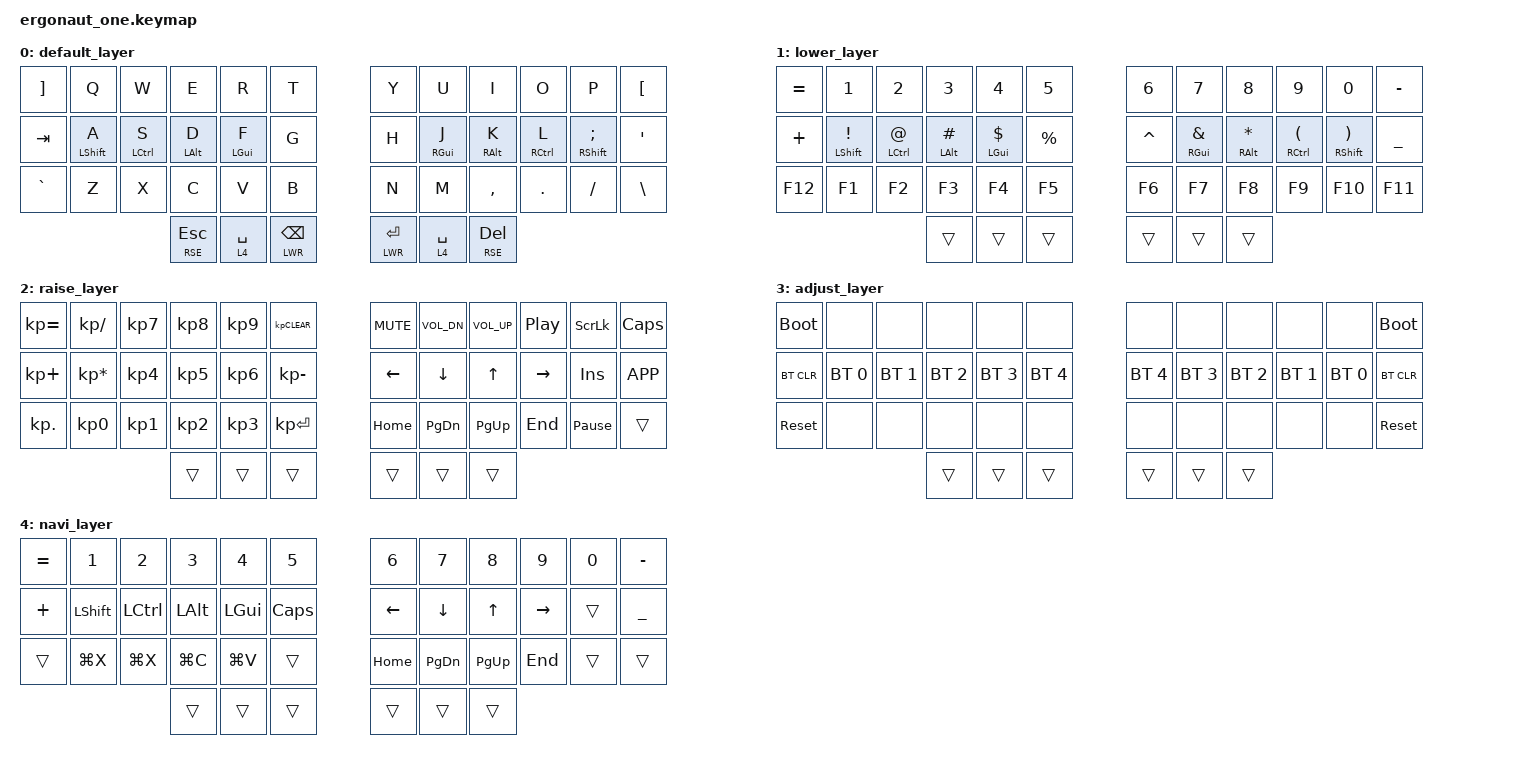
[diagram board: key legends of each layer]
#include <behaviors.dtsi>
#include <dt-bindings/zmk/bt.h>
#include <dt-bindings/zmk/keys.h>

#define DEF 0
#define LWR 1
#define RSE 2
#define ADJ 3

&lt { quick-tap-ms = <200>; };

&mt { quick-tap-ms = <200>; };

/ {
    conditional_layers {
        compatible = "zmk,conditional-layers";

        tri-layer {
            if-layers = <1 2>;
            then-layer = <3>;
        };
    };

    behaviors {
        mt_l: mt_l {
            compatible = "zmk,behavior-hold-tap";
            label = "MT_L";
            bindings = <&kp>, <&kp>;

            #binding-cells = <2>;
            tapping-term-ms = <200>;
            quick-tap-ms = <140>;
            flavor = "tap-preferred";
        };

        mt_r: mt_r {
            compatible = "zmk,behavior-hold-tap";
            label = "MT_R";
            bindings = <&kp>, <&kp>;

            #binding-cells = <2>;
            tapping-term-ms = <200>;
            quick-tap-ms = <140>;
            flavor = "tap-preferred";
        };
    };

    keymap {
        compatible = "zmk,keymap";

        default_layer {
            bindings = <
&kp RBKT   &kp Q               &kp W          &kp E             &kp R             &kp T         &kp Y          &kp U              &kp I              &kp O          &kp P                   &kp LBKT
&kp TAB    &mt_l LEFT_SHIFT A  &mt_l LCTRL S  &mt_l LEFT_ALT D  &mt_l LEFT_GUI F  &kp G         &kp H          &mt_r RIGHT_GUI J  &mt_r RIGHT_ALT K  &mt_r RCTRL L  &mt_r RIGHT_SHIFT SEMI  &kp SQT
&kp GRAVE  &kp Z               &kp X          &kp C             &kp V             &kp B         &kp N          &kp M              &kp COMMA          &kp DOT        &kp FSLH                &kp BSLH
                                              &lt RSE ESC       &lt 4 SPACE       &lt LWR BSPC  &lt LWR ENTER  &lt 4 SPACE        &lt RSE DEL
            >;
        };

        lower_layer {
            bindings = <
&kp EQUAL  &kp N1                 &kp N2          &kp NUMBER_3         &kp N4               &kp N5     &kp NUMBER_6  &kp N7                &kp N8                &kp N9            &kp N0                  &kp MINUS
&kp PLUS   &mt_l LEFT_SHIFT EXCL  &mt_l LCTRL AT  &mt_l LEFT_ALT HASH  &mt_l LEFT_GUI DLLR  &kp PRCNT  &kp CARET     &mt_r RIGHT_GUI AMPS  &mt_r RIGHT_ALT STAR  &mt_r RCTRL LPAR  &mt_r RIGHT_SHIFT RPAR  &kp UNDER
&kp F12    &kp F1                 &kp F2          &kp F3               &kp F4               &kp F5     &kp F6        &kp F7                &kp F8                &kp F9            &kp F10                 &kp F11
                                                  &trans               &trans               &trans     &trans        &trans                &trans
            >;
        };

        raise_layer {
            bindings = <
&kp KP_EQUAL  &kp KP_SLASH     &kp KP_N7  &kp KP_N8  &kp KP_N9  &kp KP_CLEAR  &kp K_MUTE  &kp C_VOL_DN   &kp C_VOL_UP  &kp C_PLAY_PAUSE  &kp SLCK         &kp CLCK
&kp KP_PLUS   &kp KP_MULTIPLY  &kp KP_N4  &kp KP_N5  &kp KP_N6  &kp KP_MINUS  &kp LEFT    &kp DOWN       &kp UP        &kp RIGHT         &kp INS          &kp K_APP
&kp KP_DOT    &kp KP_N0        &kp KP_N1  &kp KP_N2  &kp KP_N3  &kp KP_ENTER  &kp HOME    &kp PAGE_DOWN  &kp PAGE_UP   &kp END           &kp PAUSE_BREAK  &trans
                                          &trans     &trans     &trans        &trans      &trans         &trans
            >;
        };

        adjust_layer {
            bindings = <
&bootloader  &none         &none         &none         &none         &none         &none         &none         &none         &none         &none         &bootloader
&bt BT_CLR   &bt BT_SEL 0  &bt BT_SEL 1  &bt BT_SEL 2  &bt BT_SEL 3  &bt BT_SEL 4  &bt BT_SEL 4  &bt BT_SEL 3  &bt BT_SEL 2  &bt BT_SEL 1  &bt BT_SEL 0  &bt BT_CLR
&sys_reset   &none         &none         &none         &none         &none         &none         &none         &none         &none         &none         &sys_reset
                                         &trans        &trans        &trans        &trans        &trans        &trans
            >;
        };

        navi_layer {
            bindings = <
&kp EQUAL  &kp N1     &kp N2     &kp N3        &kp N4        &kp N5    &kp N6    &kp N7         &kp N8       &kp N9     &kp N0  &kp MINUS
&kp PLUS   &kp LSHFT  &kp LCTRL  &kp LEFT_ALT  &kp LEFT_GUI  &kp CAPS  &kp LEFT  &kp DOWN       &kp UP       &kp RIGHT  &trans  &kp UNDER
&trans     &kp LG(X)  &kp LG(X)  &kp LG(C)     &kp LG(V)     &trans    &kp HOME  &kp PAGE_DOWN  &kp PAGE_UP  &kp END    &trans  &trans
                                 &trans        &trans        &trans    &trans    &trans         &trans
            >;
        };
    };
};
